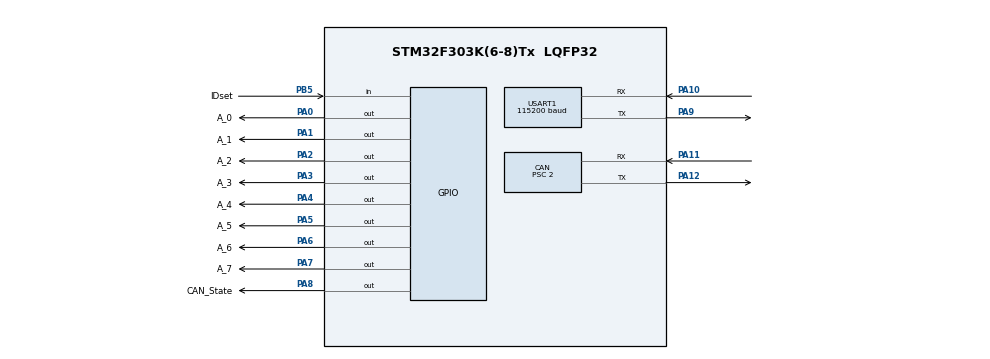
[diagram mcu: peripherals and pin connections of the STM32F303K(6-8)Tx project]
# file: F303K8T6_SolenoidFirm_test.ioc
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CAN.ABOM=ENABLE
CAN.BS1=CAN_BS1_2TQ
CAN.CalculateBaudRate=1000000
CAN.CalculateTimeBit=1000
CAN.CalculateTimeQuantum=250.0
CAN.NART=ENABLE
CAN.Prescaler=2
Mcu.Family=STM32F3
Mcu.Name=STM32F303K(6-8)Tx
Mcu.Package=LQFP32
NVIC.CAN_RX0_IRQn=true\:0\:0\:false\:false\:true\:true\:true\:true
NVIC.CAN_SCE_IRQn=true\:0\:0\:false\:false\:true\:true\:true\:true
NVIC.CAN_TX_IRQn=true\:0\:0\:false\:false\:true\:true\:true\:true
NVIC.PriorityGroup=NVIC_PRIORITYGROUP_4
NVIC.USART1_IRQn=true\:0\:0\:false\:false\:true\:true\:true\:true
PA0.GPIO_Label=A_0
PA0.Signal=GPIO_Output
PA1.GPIO_Label=A_1
PA1.Signal=GPIO_Output
PA10.Mode=Asynchronous
PA10.Signal=USART1_RX
PA11.Mode=CAN_Activate
PA11.Signal=CAN_RX
PA12.Mode=CAN_Activate
PA12.Signal=CAN_TX
PA13.Mode=JTAG_5_pins
PA13.Signal=SYS_JTMS-SWDIO
PA14.Mode=JTAG_5_pins
PA14.Signal=SYS_JTCK-SWCLK
PA15.Mode=JTAG_5_pins
PA15.Signal=SYS_JTDI
PA2.GPIO_Label=A_2
PA2.Signal=GPIO_Output
PA3.GPIO_Label=A_3
PA3.Signal=GPIO_Output
PA4.GPIO_Label=A_4
PA4.Signal=GPIO_Output
PA5.GPIO_Label=A_5
PA5.Signal=GPIO_Output
PA6.GPIO_Label=A_6
PA6.Signal=GPIO_Output
PA7.GPIO_Label=A_7
PA7.Signal=GPIO_Output
PA8.GPIO_Label=CAN_State
PA8.Signal=GPIO_Output
PA9.Mode=Asynchronous
PA9.Signal=USART1_TX
PB3.Mode=JTAG_5_pins
PB3.Signal=SYS_JTDO-TRACESWO
PB4.Mode=JTAG_5_pins
PB4.Signal=SYS_NJTRST
PB5.GPIO_Label=IDset
PB5.GPIO_PuPd=GPIO_PULLUP
PB5.Signal=GPIO_Input
ProjectManager.HeapSize=0x200
ProjectManager.StackSize=0x400
ProjectManager.TargetToolchain=CMake
RCC.AHBFreq_Value=8000000
RCC.APB1Freq_Value=8000000
RCC.APB2Freq_Value=8000000
RCC.CortexFreq_Value=8000000
RCC.HSE_VALUE=8000000
RCC.HSI_VALUE=8000000
RCC.SYSCLKFreq_VALUE=8000000
USART1.BaudRate=115200
USART1.VirtualMode-Asynchronous=VM_ASYNC
board=custom

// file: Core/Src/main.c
/* USER CODE BEGIN Header */
/**
 ******************************************************************************
 * @file           : main.c
 * @brief          : Main program body
 ******************************************************************************
 * @attention
 *
 * Copyright (c) 2026 STMicroelectronics.
 * All rights reserved.
 *
 * This software is licensed under terms that can be found in the LICENSE file
 * in the root directory of this software component.
 * If no LICENSE file comes with this software, it is provided AS-IS.
 *
 ******************************************************************************
 */
/* USER CODE END Header */
#include "main.h"

/* USER CODE BEGIN Includes */
#include "stdbool.h"
#include "stdio.h"

/* USER CODE END Includes */

/* USER CODE BEGIN PD */

#define BASE_CANID 128
#define SOLENOID_PINS (A_0_Pin | A_1_Pin | A_2_Pin | A_3_Pin | A_4_Pin | A_5_Pin | A_6_Pin | A_7_Pin)

#define CAN_TEST_ID 1440U
#define CAN_ENABLE_TEST_TX 0U
#define CONTROL_HZ 1000U
#define CAN_TEST_HZ 100U
#define CAN_RX_TIMEOUT_MS 100U
#define STATUS_PRINT_MS 500U

#define CAN_STATE_BLINK_HZ 2U
/* USER CODE END PD */

CAN_HandleTypeDef hcan;

UART_HandleTypeDef huart1;

void SystemClock_Config (void);
static void MX_GPIO_Init (void);
static void MX_CAN_Init (void);
static void MX_USART1_UART_Init (void);
/* USER CODE BEGIN PFP */

static uint8_t CAN_Start (CAN_HandleTypeDef *hcan);
#if CAN_ENABLE_TEST_TX
static uint8_t CAN_Send (CAN_HandleTypeDef *hcan, uint32_t id, uint8_t *data, uint8_t len);
#endif
static void CAN_UpdateStatePin (uint8_t online, uint32_t now);
static void Solenoid_Apply (uint8_t sol_state);

/* USER CODE END PFP */

/* USER CODE BEGIN 0 */

static volatile uint8_t input_state = 0b00000000;
static uint8_t canid = BASE_CANID;
static volatile uint8_t can_state = false;  // true -> 接続　false -> 非接続
static volatile uint32_t last_can_tx_success_tick = 0;
static volatile uint32_t last_can_rx_tick = 0;
static volatile uint32_t can_rx_count = 0;
static volatile uint32_t can_error_count = 0;
static uint32_t last_can_state_blink_tick = 0;
static GPIO_PinState can_state_led_state = GPIO_PIN_RESET;

/* USER CODE END 0 */

int main (void) {

  /* MCU Configuration--------------------------------------------------------*/

  /* Reset of all peripherals, Initializes the Flash interface and the Systick. */
  HAL_Init ();

  /* Configure the system clock */
  SystemClock_Config ();

  /* Initialize all configured peripherals */
  MX_GPIO_Init ();
  MX_CAN_Init ();
  MX_USART1_UART_Init ();
  /* USER CODE BEGIN 2 */

  canid = BASE_CANID + !HAL_GPIO_ReadPin (GPIOB, IDset_Pin);
  if (CAN_Start (&hcan) != HAL_OK) {
    Solenoid_Apply (0U);
  } else {
    printf ("CAN Started with ID: %d\r\n", canid);
  }

  /* USER CODE END 2 */

  /* Infinite loop */
  /* USER CODE BEGIN WHILE */

  uint32_t last_control_tick = HAL_GetTick ();
#if CAN_ENABLE_TEST_TX
  uint32_t last_can_test_tick = HAL_GetTick ();
#endif
  uint32_t last_status_print_tick = HAL_GetTick ();

  printf ("hello world\r\n");
  while (1) {
    /* USER CODE END WHILE */

    /* USER CODE BEGIN 3 */
    uint32_t now = HAL_GetTick ();

    can_state = ((now - last_can_rx_tick) < CAN_RX_TIMEOUT_MS);

    if (now - last_control_tick >= (1000U / CONTROL_HZ)) {
      uint8_t sol_state = input_state;
      last_control_tick = now;
      Solenoid_Apply (sol_state);
    }

#if CAN_ENABLE_TEST_TX
    if (now - last_can_test_tick >= (1000U / CAN_TEST_HZ)) {
      last_can_test_tick = now;
      uint8_t tx_data[1] = {canid};
      CAN_Send (&hcan, CAN_TEST_ID, tx_data, sizeof (tx_data));
    }
#endif

    CAN_UpdateStatePin (can_state, now);

    if (now - last_status_print_tick >= STATUS_PRINT_MS) {
      uint8_t sol_state = input_state;
      uint32_t rx_count = can_rx_count;
      uint32_t error_count = can_error_count;
      last_status_print_tick = now;
      printf ("can_state: %d, input_state: %02X, rx: %lu, err: %lu\r\n", can_state, sol_state, rx_count, error_count);
    }
  }
  /* USER CODE END 3 */
}

void SystemClock_Config (void) {
  RCC_OscInitTypeDef RCC_OscInitStruct = {0};
  RCC_ClkInitTypeDef RCC_ClkInitStruct = {0};
  RCC_PeriphCLKInitTypeDef PeriphClkInit = {0};

  /** Initializes the RCC Oscillators according to the specified parameters
   * in the RCC_OscInitTypeDef structure.
   */
  RCC_OscInitStruct.OscillatorType = RCC_OSCILLATORTYPE_HSI;
  RCC_OscInitStruct.HSIState = RCC_HSI_ON;
  RCC_OscInitStruct.HSICalibrationValue = RCC_HSICALIBRATION_DEFAULT;
  RCC_OscInitStruct.PLL.PLLState = RCC_PLL_NONE;
  if (HAL_RCC_OscConfig (&RCC_OscInitStruct) != HAL_OK) {
    Error_Handler ();
  }

  /** Initializes the CPU, AHB and APB buses clocks
   */
  RCC_ClkInitStruct.ClockType = RCC_CLOCKTYPE_HCLK | RCC_CLOCKTYPE_SYSCLK | RCC_CLOCKTYPE_PCLK1 | RCC_CLOCKTYPE_PCLK2;
  RCC_ClkInitStruct.SYSCLKSource = RCC_SYSCLKSOURCE_HSI;
  RCC_ClkInitStruct.AHBCLKDivider = RCC_SYSCLK_DIV1;
  RCC_ClkInitStruct.APB1CLKDivider = RCC_HCLK_DIV1;
  RCC_ClkInitStruct.APB2CLKDivider = RCC_HCLK_DIV1;

  if (HAL_RCC_ClockConfig (&RCC_ClkInitStruct, FLASH_LATENCY_0) != HAL_OK) {
    Error_Handler ();
  }
  PeriphClkInit.PeriphClockSelection = RCC_PERIPHCLK_USART1;
  PeriphClkInit.Usart1ClockSelection = RCC_USART1CLKSOURCE_PCLK1;
  if (HAL_RCCEx_PeriphCLKConfig (&PeriphClkInit) != HAL_OK) {
    Error_Handler ();
  }
}

static void MX_CAN_Init (void) {

  hcan.Instance = CAN;
  hcan.Init.Prescaler = 2;
  hcan.Init.Mode = CAN_MODE_NORMAL;
  hcan.Init.SyncJumpWidth = CAN_SJW_1TQ;
  hcan.Init.TimeSeg1 = CAN_BS1_2TQ;
  hcan.Init.TimeSeg2 = CAN_BS2_1TQ;
  hcan.Init.TimeTriggeredMode = DISABLE;
  hcan.Init.AutoBusOff = ENABLE;
  hcan.Init.AutoWakeUp = DISABLE;
  hcan.Init.AutoRetransmission = ENABLE;
  hcan.Init.ReceiveFifoLocked = DISABLE;
  hcan.Init.TransmitFifoPriority = DISABLE;
  if (HAL_CAN_Init (&hcan) != HAL_OK) {
    Error_Handler ();
  }
}

static void MX_USART1_UART_Init (void) {

  huart1.Instance = USART1;
  huart1.Init.BaudRate = 115200;
  huart1.Init.WordLength = UART_WORDLENGTH_8B;
  huart1.Init.StopBits = UART_STOPBITS_1;
  huart1.Init.Parity = UART_PARITY_NONE;
  huart1.Init.Mode = UART_MODE_TX_RX;
  huart1.Init.HwFlowCtl = UART_HWCONTROL_NONE;
  huart1.Init.OverSampling = UART_OVERSAMPLING_16;
  huart1.Init.OneBitSampling = UART_ONE_BIT_SAMPLE_DISABLE;
  huart1.AdvancedInit.AdvFeatureInit = UART_ADVFEATURE_NO_INIT;
  if (HAL_UART_Init (&huart1) != HAL_OK) {
    Error_Handler ();
  }
}

static void MX_GPIO_Init (void) {
  GPIO_InitTypeDef GPIO_InitStruct = {0};

  /* GPIO Ports Clock Enable */
  __HAL_RCC_GPIOA_CLK_ENABLE ();
  __HAL_RCC_GPIOB_CLK_ENABLE ();

  /*Configure GPIO pin Output Level */
  HAL_GPIO_WritePin (GPIOA, A_0_Pin | A_1_Pin | A_2_Pin | A_3_Pin | A_4_Pin | A_5_Pin | A_6_Pin | A_7_Pin | CAN_State_Pin, GPIO_PIN_RESET);

  /*Configure GPIO pins : A_0_Pin A_1_Pin A_2_Pin A_3_Pin A_4_Pin A_5_Pin A_6_Pin A_7_Pin CAN_State_Pin */
  GPIO_InitStruct.Pin = A_0_Pin | A_1_Pin | A_2_Pin | A_3_Pin | A_4_Pin | A_5_Pin | A_6_Pin | A_7_Pin | CAN_State_Pin;
  GPIO_InitStruct.Mode = GPIO_MODE_OUTPUT_PP;
  GPIO_InitStruct.Pull = GPIO_PULLUP;
  GPIO_InitStruct.Speed = GPIO_SPEED_FREQ_LOW;
  HAL_GPIO_Init (GPIOA, &GPIO_InitStruct);

  /*Configure GPIO pin : IDset_Pin */
  GPIO_InitStruct.Pin = IDset_Pin;
  GPIO_InitStruct.Mode = GPIO_MODE_INPUT;
  GPIO_InitStruct.Pull = GPIO_NOPULL;
  HAL_GPIO_Init (IDset_GPIO_Port, &GPIO_InitStruct);

}

/* USER CODE BEGIN 4 */

static uint8_t CAN_Start (CAN_HandleTypeDef *hcan) {
  CAN_FilterTypeDef can_filter = {0};
  can_filter.FilterMode = CAN_FILTERMODE_IDMASK;
  can_filter.FilterScale = CAN_FILTERSCALE_32BIT;
  /* Accept all CAN frames. bxCAN needs an active filter bank to receive. */
  can_filter.FilterIdHigh = 0x0000;
  can_filter.FilterIdLow = 0x0000;
  can_filter.FilterMaskIdHigh = 0x0000;
  can_filter.FilterMaskIdLow = 0x0000;
  can_filter.FilterFIFOAssignment = CAN_FILTER_FIFO0;
  can_filter.FilterActivation = ENABLE;
  can_filter.SlaveStartFilterBank = 14;

  if (hcan->Instance == CAN) {
    can_filter.FilterBank = 0;
  } else {
    can_filter.FilterBank = 14;
  }

  if (HAL_CAN_ConfigFilter (hcan, &can_filter) != HAL_OK) {
    return 1;
  }

  if (HAL_CAN_Start (hcan) != HAL_OK) {
    return 1;
  }

  if (HAL_CAN_ActivateNotification (hcan, CAN_IT_RX_FIFO0_MSG_PENDING | CAN_IT_RX_FIFO0_OVERRUN | CAN_IT_TX_MAILBOX_EMPTY | CAN_IT_ERROR | CAN_IT_BUSOFF) != HAL_OK) {
    return 1;
  }

  return 0;
}

#if CAN_ENABLE_TEST_TX
static uint8_t CAN_Send (CAN_HandleTypeDef *hcan, uint32_t id, uint8_t *data, uint8_t len) {
  CAN_TxHeaderTypeDef tx_header;
  uint32_t tx_mailbox;

  tx_header.StdId = id & 0x7FFU; /* 11bit標準ID */
  tx_header.ExtId = 0;
  tx_header.IDE = CAN_ID_STD;
  tx_header.RTR = CAN_RTR_DATA;
  tx_header.DLC = len;
  tx_header.TransmitGlobalTime = DISABLE;

  if (HAL_CAN_AddTxMessage (hcan, &tx_header, data, &tx_mailbox) != HAL_OK) {
    return 1;
  }
  return 0;
}
#endif

void HAL_CAN_RxFifo0MsgPendingCallback (CAN_HandleTypeDef *hcan) {  // CANのコールバック
  CAN_RxHeaderTypeDef rx_header = {0};
  uint8_t rx_data[8] = {0};

  if (hcan->Instance != CAN) return;
  if (HAL_CAN_GetRxMessage (hcan, CAN_RX_FIFO0, &rx_header, rx_data) != HAL_OK) return;
  last_can_rx_tick = HAL_GetTick ();
  can_rx_count++;

  if (rx_header.StdId != canid) return;
  input_state = rx_data[0];
}

int __io_putchar (int ch) {
  uint8_t c = (uint8_t)ch;
  (void)HAL_UART_Transmit (&huart1, &c, 1, 10);
  return ch;
}

void HAL_CAN_TxMailbox0CompleteCallback (CAN_HandleTypeDef *hcan) {
  if (hcan->Instance != CAN) return;

  last_can_tx_success_tick = HAL_GetTick ();
}

void HAL_CAN_TxMailbox1CompleteCallback (CAN_HandleTypeDef *hcan) {
  if (hcan->Instance != CAN) return;

  last_can_tx_success_tick = HAL_GetTick ();
}

void HAL_CAN_TxMailbox2CompleteCallback (CAN_HandleTypeDef *hcan) {
  if (hcan->Instance != CAN) return;

  last_can_tx_success_tick = HAL_GetTick ();
}

void HAL_CAN_ErrorCallback (CAN_HandleTypeDef *hcan) {
  if (hcan->Instance != CAN) return;

  can_error_count++;
}

static void CAN_UpdateStatePin (uint8_t online, uint32_t now) {
  if (online) {
    can_state_led_state = GPIO_PIN_SET;
    HAL_GPIO_WritePin (CAN_State_GPIO_Port, CAN_State_Pin, can_state_led_state);
    return;
  }

  if ((now - last_can_state_blink_tick) >= (1000U / CAN_STATE_BLINK_HZ)) {
    last_can_state_blink_tick = now;
    can_state_led_state = (can_state_led_state == GPIO_PIN_SET) ? GPIO_PIN_RESET : GPIO_PIN_SET;
    HAL_GPIO_WritePin (CAN_State_GPIO_Port, CAN_State_Pin, can_state_led_state);
  }
}

static void Solenoid_Apply (uint8_t sol_state) {
  for (int i = 0; i < 8; i++) {
    HAL_GPIO_WritePin (GPIOA, GPIO_PIN_0 << i, (sol_state >> i) & 1U);
  }
}

/* USER CODE END 4 */

void Error_Handler (void) {
  /* USER CODE BEGIN Error_Handler_Debug */
  /* User can add his own implementation to report the HAL error return state */
  __disable_irq ();
  while (1) {
  }
  /* USER CODE END Error_Handler_Debug */
}
#ifdef USE_FULL_ASSERT
/**
 * @brief  Reports the name of the source file and the source line number
 *         where the assert_param error has occurred.
 * @param  file: pointer to the source file name
 * @param  line: assert_param error line source number
 * @retval None
 */
void assert_failed (uint8_t *file, uint32_t line) {
  /* USER CODE BEGIN 6 */
  /* User can add his own implementation to report the file name and line
     number, ex: printf("Wrong parameters value: file %s on line %d\r\n", file,
     line) */
  /* USER CODE END 6 */
}
#endif /* USE_FULL_ASSERT */
